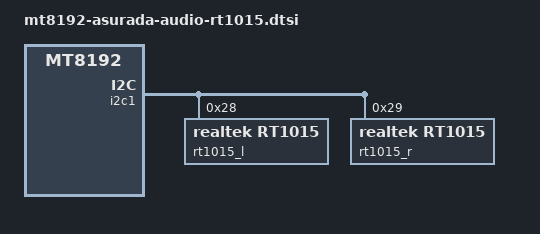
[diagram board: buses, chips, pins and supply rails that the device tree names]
// SPDX-License-Identifier: (GPL-2.0 OR MIT)
/*
 * Copyright (C) 2022 MediaTek Inc.
 */
&i2c1 {
	rt1015_l: codec@28 {
		compatible = "realtek,rt1015";
		reg = <0x28>;
		#sound-dai-cells = <0>;
	};

	rt1015_r: codec@29 {
		compatible = "realtek,rt1015";
		reg = <0x29>;
		#sound-dai-cells = <0>;
	};
};
